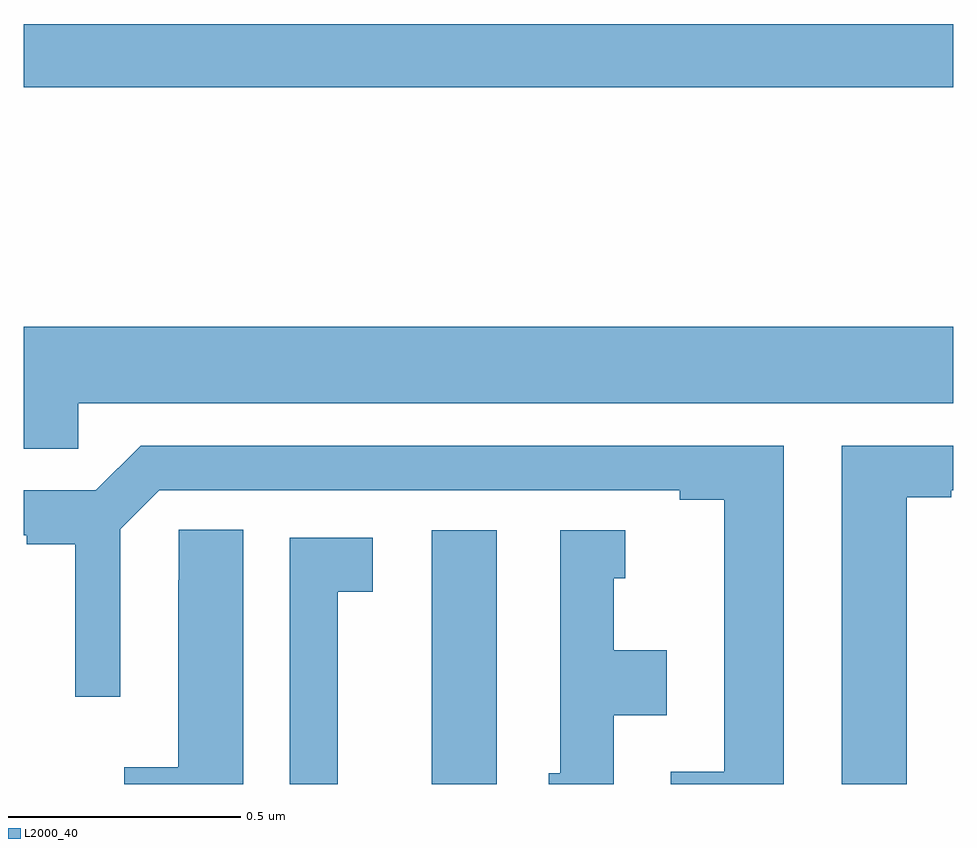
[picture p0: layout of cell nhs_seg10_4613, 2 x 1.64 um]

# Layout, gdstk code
import gdstk
lib = gdstk.Library(unit=1e-6, precision=1e-09)
def R(c, l, rs):  # rectangles x0, y0, x1, y1
    for r in rs: c.add(gdstk.rectangle(r[:2], r[2:], *l))
def P(c, l, *ps):  # polygons
    for p in ps: c.add(gdstk.Polygon(p, *l))
L2000_40 = (2000, 40)

nhs_seg10_4613 = lib.new_cell('nhs_seg10_4613')
R(nhs_seg10_4613, L2000_40, [(168.878,1295.5,169.018,1296.046), (168,1297,170,1297.136)])
P(nhs_seg10_4613, L2000_40, [(168.117,1296.32),(170,1296.32),(170,1296.484),(168,1296.484),(168,1296.222),(168.117,1296.222)],
  [(169.9,1296.117),(169.996,1296.117),(169.996,1296.132),(170,1296.132),(170,1296.228),(169.76,1296.228),(169.76,1295.5),(169.9,1295.5)],
  [(169.636,1296.228),(168.251,1296.228),(168.155,1296.132),(168,1296.132),(168,1296.035),(168.006,1296.035),(168.006,1296.016),(168.11,1296.016),(168.11,1295.688),(168.207,1295.688),(168.207,1296.048),(168.291,1296.132),(169.412,1296.132),(169.412,1296.112),(169.508,1296.112),(169.508,1295.526),(169.392,1295.526),(169.392,1295.5),(169.636,1295.5)],
  [(168.472,1296.047),(168.333,1296.047),(168.333,1295.939),(168.332,1295.939),(168.332,1295.536),(168.216,1295.536),(168.216,1295.5),(168.472,1295.5)],
  [(169.27,1295.648),(169.384,1295.648),(169.384,1295.788),(169.27,1295.788),(169.27,1295.943),(169.294,1295.943),(169.294,1296.046),(169.154,1296.046),(169.154,1295.523),(169.13,1295.523),(169.13,1295.5),(169.27,1295.5)],
  [(168.676,1295.914),(168.751,1295.914),(168.751,1296.03),(168.572,1296.03),(168.572,1295.5),(168.676,1295.5)])

lib.write_gds('nhs_seg10_4613.gds')
